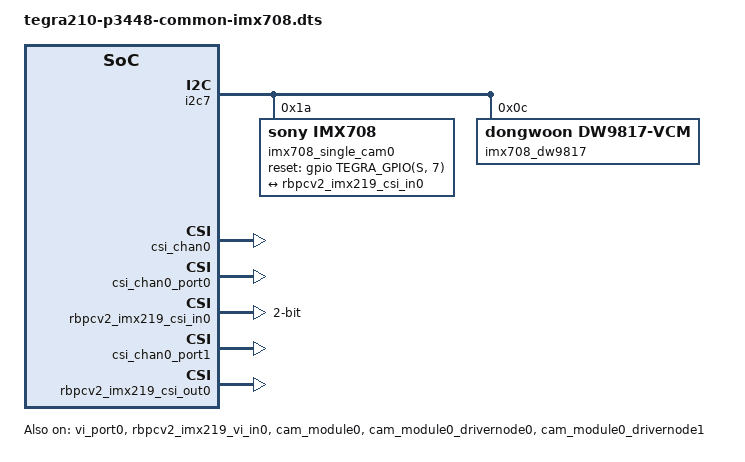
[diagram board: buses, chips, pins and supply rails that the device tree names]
// SPDX-License-Identifier: GPL-2.0
/* Jetson Nano A02 single-camera overlay for Raspberry Pi IMX708 modules. */

/dts-v1/;
/plugin/;

#include <dt-bindings/gpio/gpio.h>
#include <dt-bindings/gpio/tegra-gpio.h>

/ {
	overlay-name = "Camera IMX708";
	jetson-header-name = "Jetson Nano CSI Connector";
	compatible = "nvidia,p3449-0000-a02+p3448-0000-a02";

	fragment@0 {
		target = <&i2c7>;
		__overlay__ {
			#address-cells = <1>;
			#size-cells = <0>;

			imx708_single_cam0: imx708_a@1a {
				compatible = "sony,imx708";
				reg = <0x1a>;
				status = "okay";
				devnode = "video0";
				physical_w = "3.680";
				physical_h = "2.760";
				sensor_model = "imx708";
				use_sensor_mode_id = "true";
				reset-gpios = <&gpio TEGRA_GPIO(S, 7) GPIO_ACTIVE_HIGH>;
				lens-focus = <&imx708_dw9817>;

				mode0 {
					mclk_khz = "24000";
					num_lanes = "2";
					tegra_sinterface = "serial_a";
					phy_mode = "DPHY";
					discontinuous_clk = "yes";
					dpcm_enable = "false";
					cil_settletime = "0";
					mode_type = "bayer";
					pixel_phase = "rggb";
					csi_pixel_bit_depth = "10";
					pixel_t = "bayer_rggb10";
					active_w = "4608";
					active_h = "2592";
					active_l = "0";
					active_t = "0";
					readout_orientation = "90";
					line_length = "15648";
					inherent_gain = "1";
					pix_clk_hz = "595200000";
					gain_factor = "16";
					min_gain_val = "16";
					max_gain_val = "512";
					step_gain_val = "1";
					default_gain = "16";
					min_hdr_ratio = "1";
					max_hdr_ratio = "1";
					framerate_factor = "1000000";
					min_framerate = "2000000";
					max_framerate = "14000000";
					step_framerate = "1";
					default_framerate = "14000000";
					exposure_factor = "1000000";
					min_exp_time = "500";
					max_exp_time = "499000";
					step_exp_time = "1";
					default_exp_time = "1600";
					embedded_metadata_height = "2";
				};

				mode1 {
					mclk_khz = "24000";
					num_lanes = "2";
					tegra_sinterface = "serial_a";
					phy_mode = "DPHY";
					discontinuous_clk = "yes";
					dpcm_enable = "false";
					cil_settletime = "0";
					mode_type = "bayer";
					pixel_phase = "rggb";
					csi_pixel_bit_depth = "10";
					pixel_t = "bayer_rggb10";
					active_w = "2304";
					active_h = "1296";
					active_l = "0";
					active_t = "0";
					readout_orientation = "90";
					line_length = "7824";
					inherent_gain = "1";
					pix_clk_hz = "585600000";
					gain_factor = "16";
					min_gain_val = "16";
					max_gain_val = "512";
					step_gain_val = "1";
					default_gain = "16";
					min_hdr_ratio = "1";
					max_hdr_ratio = "1";
					framerate_factor = "1000000";
					min_framerate = "2000000";
					max_framerate = "56000000";
					step_framerate = "1";
					default_framerate = "30000000";
					exposure_factor = "1000000";
					min_exp_time = "500";
					max_exp_time = "499000";
					step_exp_time = "1";
					default_exp_time = "1600";
					/* Embedded rows include sensor metadata/PDAF payloads. */
					embedded_metadata_height = "2";
				};

				mode2 {
					mclk_khz = "24000";
					num_lanes = "2";
					tegra_sinterface = "serial_a";
					phy_mode = "DPHY";
					discontinuous_clk = "yes";
					dpcm_enable = "false";
					cil_settletime = "0";
					mode_type = "bayer";
					pixel_phase = "rggb";
					csi_pixel_bit_depth = "10";
					pixel_t = "bayer_rggb10";
					active_w = "1536";
					active_h = "864";
					active_l = "768";
					active_t = "432";
					readout_orientation = "90";
					line_length = "5216";
					inherent_gain = "1";
					pix_clk_hz = "566400000";
					gain_factor = "16";
					min_gain_val = "16";
					max_gain_val = "512";
					step_gain_val = "1";
					default_gain = "16";
					min_hdr_ratio = "1";
					max_hdr_ratio = "1";
					framerate_factor = "1000000";
					min_framerate = "2000000";
					max_framerate = "120000000";
					step_framerate = "1";
					default_framerate = "30000000";
					exposure_factor = "1000000";
					min_exp_time = "500";
					max_exp_time = "499000";
					step_exp_time = "1";
					default_exp_time = "1600";
					/* Embedded rows include sensor metadata/PDAF payloads. */
					embedded_metadata_height = "2";
				};

				ports {
					port {
						imx708_out0: endpoint {
							port-index = <0>;
							bus-width = <2>;
							remote-endpoint = <&rbpcv2_imx219_csi_in0>;
						};
					};
				};
			};

			imx708_dw9817: dw9817@c {
				compatible = "dongwoon,dw9817-vcm";
				reg = <0x0c>;
				status = "okay";
			};
		};
	};

	fragment@1 {
		target = <&imx219_single_cam0>;
		__overlay__ { status = "disabled"; };
	};

	fragment@2 {
		target = <&imx477_single_cam0>;
		__overlay__ { status = "disabled"; };
	};

	fragment@3 {
		target = <&vi_base>;
		__overlay__ { num-channels = <1>; };
	};

	fragment@4 {
		target = <&vi_port0>;
		__overlay__ { status = "okay"; };
	};

	fragment@5 {
		target = <&rbpcv2_imx219_vi_in0>;
		__overlay__ {
			status = "okay";
			port-index = <0>;
			bus-width = <2>;
			remote-endpoint = <&rbpcv2_imx219_csi_out0>;
		};
	};

	fragment@6 {
		target = <&csi_base>;
		__overlay__ { num-channels = <1>; };
	};

	fragment@7 {
		target = <&csi_chan0>;
		__overlay__ { status = "okay"; };
	};

	fragment@8 {
		target = <&csi_chan0_port0>;
		__overlay__ { status = "okay"; };
	};

	fragment@9 {
		target = <&rbpcv2_imx219_csi_in0>;
		__overlay__ {
			status = "okay";
			port-index = <0>;
			bus-width = <2>;
			remote-endpoint = <&imx708_out0>;
		};
	};

	fragment@10 {
		target = <&csi_chan0_port1>;
		__overlay__ { status = "okay"; };
	};

	fragment@11 {
		target = <&rbpcv2_imx219_csi_out0>;
		__overlay__ {
			status = "okay";
			remote-endpoint = <&rbpcv2_imx219_vi_in0>;
		};
	};

	fragment@12 {
		target = <&cam_module0>;
		__overlay__ {
			status = "okay";
			badge = "porg_front_IMX708";
			position = "front";
			orientation = "1";
		};
	};

	fragment@13 {
		target = <&cam_module0_drivernode0>;
		__overlay__ {
			status = "okay";
			pcl_id = "v4l2_sensor";
			devname = "imx708 6-001a";
			proc-device-tree = "/proc/device-tree/host1x/i2c@546c0000/imx708_a@1a";
		};
	};

	fragment@14 {
		target = <&cam_module0_drivernode1>;
		__overlay__ {
			status = "okay";
			pcl_id = "v4l2_lens";
			devname = "dw9817 6-000c";
			proc-device-tree = "/proc/device-tree/host1x/i2c@546c0000/dw9817@c";
		};
	};

	fragment@15 {
		target = <&tcp>;
		__overlay__ {
			num_csi_lanes = <2>;
			max_lane_speed = <2500000>;
			min_bits_per_pixel = <10>;
			vi_peak_byte_per_pixel = <2>;
			vi_bw_margin_pct = <25>;
			max_pixel_rate = <7500000>;
			isp_peak_byte_per_pixel = <5>;
			isp_bw_margin_pct = <25>;
		};
	};
};
